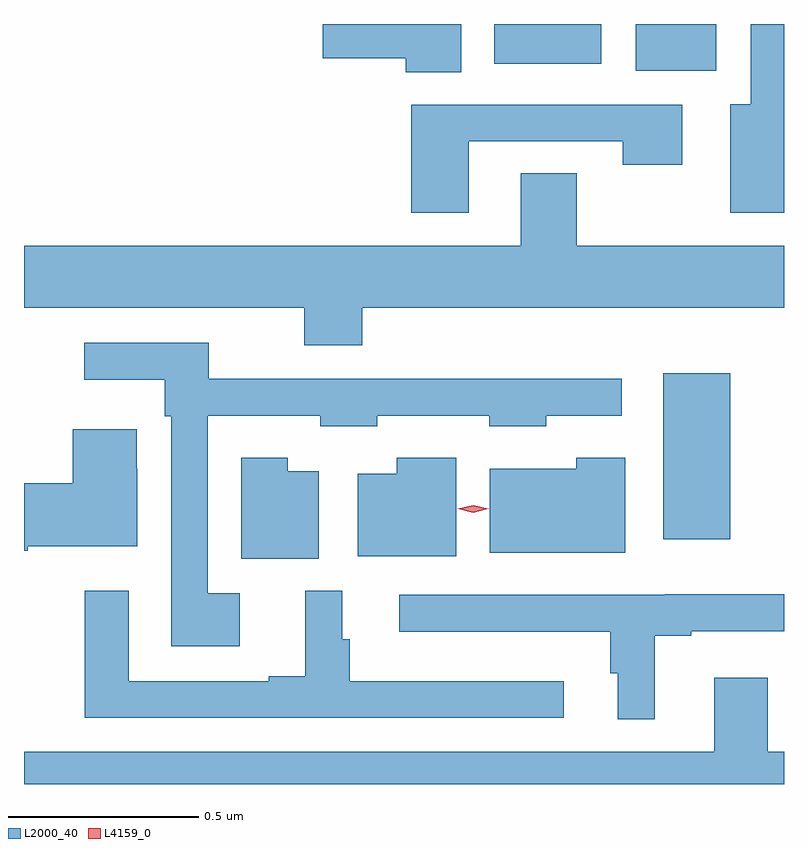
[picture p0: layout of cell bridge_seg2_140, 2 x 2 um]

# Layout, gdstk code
import gdstk
lib = gdstk.Library(unit=1e-6, precision=1e-09)
def R(c, l, rs):  # rectangles x0, y0, x1, y1
    for r in rs: c.add(gdstk.rectangle(r[:2], r[2:], *l))
def P(c, l, *ps):  # polygons
    for p in ps: c.add(gdstk.Polygon(p, *l))
L2000_40 = (2000, 40)
L4159_0 = (4159, 0)

bridge_seg2_140 = lib.new_cell('bridge_seg2_140')
R(bridge_seg2_140, L2000_40, [(578.504,595.079,578.68,595.516), (578.432,596.312,578.644,596.435), (578.06,596.33,578.341,596.435)])
P(bridge_seg2_140, L2000_40, [(578.822,596.435),(578.735,596.435),(578.735,596.224),(578.681,596.224),(578.681,595.938),(578.822,595.938)],
  [(577.972,596.435),(577.608,596.435),(577.608,596.345),(577.826,596.345),(577.826,596.308),(577.972,596.308)],
  [(577.993,596.127),(578.398,596.127),(578.398,596.064),(578.554,596.064),(578.554,596.223),(577.841,596.223),(577.841,595.938),(577.993,595.938)],
  [(577.712,595.688),(578.822,595.688),(578.822,595.852),(578.277,595.852),(578.277,596.042),(578.129,596.042),(578.129,595.852),(576.822,595.852),(576.822,595.688),(577.559,595.688),(577.559,595.589),(577.712,595.589)],
  [(577.39,594.937),(577.305,594.937),(577.305,595.404),(577.602,595.404),(577.602,595.376),(577.752,595.376),(577.752,595.404),(578.046,595.404),(578.046,595.376),(578.196,595.376),(578.196,595.404),(578.395,595.404),(578.395,595.502),(577.308,595.502),(577.308,595.596),(576.981,595.596),(576.981,595.499),(577.193,595.499),(577.193,595.403),(577.209,595.403),(577.209,594.797),(577.39,594.797)],
  [(576.832,595.061),(577.12,595.061),(577.12,595.265),(577.119,595.265),(577.119,595.368),(576.95,595.368),(576.95,595.227),(576.822,595.227),(576.822,595.049),(576.832,595.049)],
  [(578.404,595.294),(578.275,595.294),(578.275,595.264),(578.048,595.264),(578.048,595.043),(578.404,595.043)],
  [(577.96,595.294),(577.803,595.294),(577.803,595.252),(577.7,595.252),(577.7,595.034),(577.96,595.034)],
  [(577.597,595.258),(577.516,595.258),(577.516,595.294),(577.394,595.294),(577.394,595.028),(577.597,595.028)],
  [(578.242,594.706),(577.679,594.706),(577.679,594.816),(577.66,594.816),(577.66,594.943),(577.562,594.943),(577.562,594.718),(577.466,594.718),(577.466,594.705),(577.098,594.705),(577.098,594.943),(576.982,594.943),(576.982,594.609),(578.242,594.609)],
  [(578.482,594.825),(578.578,594.825),(578.578,594.837),(578.822,594.837),(578.822,594.934),(578.508,594.934),(578.508,594.933),(577.809,594.933),(577.809,594.836),(578.365,594.836),(578.365,594.726),(578.384,594.726),(578.384,594.605),(578.482,594.605)],
  [(578.822,594.52),(578.779,594.52),(578.779,594.715),(578.639,594.715),(578.639,594.52),(576.822,594.52),(576.822,594.435),(578.822,594.435)])
P(bridge_seg2_140, L4159_0, [(578.004,595.149),(577.964,595.159),(577.964,595.159),(577.964,595.159),(578.004,595.169),(578.044,595.159),(578.045,595.159),(578.044,595.159)])

lib.write_gds('bridge_seg2_140.gds')
